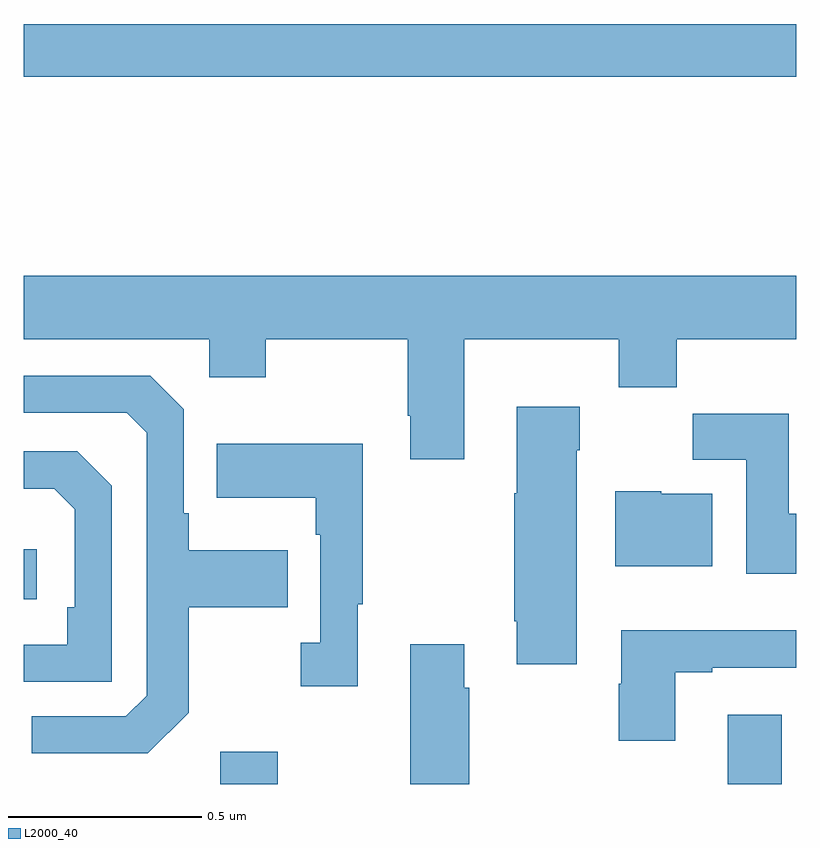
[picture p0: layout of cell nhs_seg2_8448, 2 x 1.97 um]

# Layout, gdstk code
import gdstk
lib = gdstk.Library(unit=1e-6, precision=1e-09)
def R(c, l, rs):  # rectangles x0, y0, x1, y1
    for r in rs: c.add(gdstk.rectangle(r[:2], r[2:], *l))
def P(c, l, *ps):  # polygons
    for p in ps: c.add(gdstk.Polygon(p, *l))
L2000_40 = (2000, 40)

nhs_seg2_8448 = lib.new_cell('nhs_seg2_8448')
R(nhs_seg2_8448, L2000_40, [(216.509,663.8,216.657,663.883), (217.823,663.8,217.963,663.979), (216,664.278,216.034,664.408), (216,665.632,218,665.768)])
P(nhs_seg2_8448, L2000_40, [(217.141,664.952),(217.54,664.952),(217.54,664.828),(217.691,664.828),(217.691,664.952),(218,664.952),(218,665.116),(216,665.116),(216,664.952),(216.48,664.952),(216.48,664.853),(216.627,664.853),(216.627,664.952),(216.994,664.952),(216.994,664.753),(217.001,664.753),(217.001,664.641),(217.141,664.641)],
  [(216.427,663.985),(216.427,664.258),(216.683,664.258),(216.683,664.405),(216.427,664.405),(216.427,664.501),(216.414,664.501),(216.414,664.77),(216.327,664.857),(216,664.857),(216,664.761),(216.267,664.761),(216.318,664.71),(216.318,664.029),(216.264,663.975),(216.021,663.975),(216.021,663.879),(216.321,663.879)],
  [(217.432,664.664),(217.44,664.664),(217.44,664.777),(217.277,664.777),(217.277,664.553),(217.27,664.553),(217.27,664.222),(217.277,664.222),(217.277,664.11),(217.432,664.11)],
  [(218,664.5),(217.981,664.5),(217.981,664.759),(217.732,664.759),(217.732,664.64),(217.871,664.64),(217.871,664.344),(218,664.344)],
  [(216.865,664.265),(216.877,664.265),(216.877,664.681),(216.499,664.681),(216.499,664.541),(216.756,664.541),(216.756,664.445),(216.768,664.445),(216.768,664.166),(216.717,664.166),(216.717,664.053),(216.865,664.053)],
  [(216.228,664.572),(216.138,664.662),(216,664.662),(216,664.565),(216.079,664.565),(216.132,664.512),(216.132,664.258),(216.112,664.258),(216.112,664.161),(216,664.161),(216,664.065),(216.228,664.065)],
  [(217.783,664.552),(217.65,664.552),(217.65,664.558),(217.532,664.558),(217.532,664.364),(217.783,664.364)],
  [(217.687,664.089),(217.783,664.089),(217.783,664.101),(218,664.101),(218,664.198),(217.547,664.198),(217.547,664.059),(217.54,664.059),(217.54,663.912),(217.687,663.912)],
  [(217.154,664.049),(217.141,664.049),(217.141,664.162),(217.001,664.162),(217.001,663.8),(217.154,663.8)])

lib.write_gds('nhs_seg2_8448.gds')
